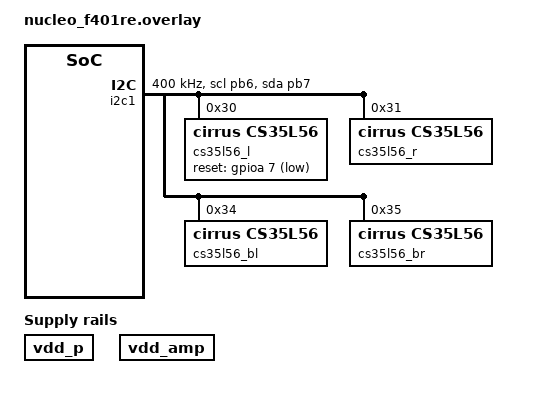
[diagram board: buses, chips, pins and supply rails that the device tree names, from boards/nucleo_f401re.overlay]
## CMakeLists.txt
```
# SPDX-License-Identifier: Apache-2.0

cmake_minimum_required(VERSION 3.20.0)
find_package(Zephyr REQUIRED HINTS $ENV{ZEPHYR_BASE})
project(cs35l56)

FILE(GLOB app_sources src/*.c)
target_sources(app PRIVATE ${app_sources})
```

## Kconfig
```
# Copyright (c) 2025 Cirrus Logic, Inc.
# SPDX-License-Identifier: Apache-2.0

source "Kconfig.zephyr"

config TOGGLE_MUTE_SW0
	bool "Toggle mute when pressing sw0"
	depends on $(dt_alias_enabled,sw0)
	select GPIO
	default y
```

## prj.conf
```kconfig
CONFIG_LOG=y
CONFIG_AUDIO=y
CONFIG_AUDIO_CODEC=y
CONFIG_AUDIO_CODEC_CS35L56=y
CONFIG_AUDIO_CODEC_CS35L56_SOUNDWIRE_ASP_ARBITRATION=y
CONFIG_AUDIO_CODEC_CS35L56_DELEGATE_FW_LOADING=y

CONFIG_SHELL=y
CONFIG_I2C_SHELL=y
CONFIG_AUDIO_CODEC_SHELL=y
```

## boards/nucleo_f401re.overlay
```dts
/*
 * Copyright (c) 2025 Cirrus Logic, Inc.
 *
 * SPDX-License-Identifier: Apache-2.0
 */

 #include <zephyr/dt-bindings/gpio/gpio.h>
 #include <zephyr/dt-bindings/i2c/i2c.h>

/ {
    vdd_p: vdd-p {
		compatible = "regulator-fixed";
		regulator-name = "vdd-p";
        regulator-always-on;
	};

    vdd_amp: vdd-amp {
		compatible = "regulator-fixed";
		regulator-name = "vdd-amp";
        regulator-always-on;
	};
};

&usart1 {
    status = "disabled";
};

&i2c1 {
    pinctrl-0 = <&i2c1_scl_pb6 &i2c1_sda_pb7>;
    status = "okay";
    clock-frequency = <I2C_BITRATE_FAST>;

    cs35l56_l: cs35l56@30 {
        compatible = "cirrus,cs35l56";
        reg = <0x30>;
        status = "okay";

        reset-gpios = <&gpioa 7 GPIO_ACTIVE_LOW>;
    };

    cs35l56_r: cs35l56@31 {
        compatible = "cirrus,cs35l56";
        reg = <0x31>;
        status = "okay";
    };

    cs35l56_bl: cs35l56@34 {
        compatible = "cirrus,cs35l56";
        reg = <0x34>;
        status = "okay";
    };

    cs35l56_br: cs35l56@35 {
        compatible = "cirrus,cs35l56";
        reg = <0x35>;
        status = "okay";
    };
};
```

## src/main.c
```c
/*
 * Copyright (c) 2025 Cirrus Logic, Inc.
 *
 * SPDX-License-Identifier: Apache-2.0
 */

#include <zephyr/sys/printk.h>
#include <zephyr/kernel.h>
#include <zephyr/device.h>
#include <zephyr/devicetree.h>
#include <zephyr/audio/codec.h>
#include <zephyr/drivers/gpio.h>

#define AUDIO_AMP_LEFT			0
#define AUDIO_AMP_RIGHT			1
#define AUDIO_AMP_BACK_LEFT		2
#define AUDIO_AMP_BACK_RIGHT	3

#define ASP1_RX1	1
#define ASP1_RX2	2

const struct device *amps[] = {
	[AUDIO_AMP_LEFT] = DEVICE_DT_GET(DT_NODELABEL(cs35l56_l)),
	[AUDIO_AMP_RIGHT] = DEVICE_DT_GET(DT_NODELABEL(cs35l56_r)),
	[AUDIO_AMP_BACK_LEFT] = DEVICE_DT_GET_OR_NULL(DT_NODELABEL(cs35l56_bl)),
	[AUDIO_AMP_BACK_RIGHT] = DEVICE_DT_GET_OR_NULL(DT_NODELABEL(cs35l56_br)),
};

static volatile bool toggle_playback = false;

#define SW0_NODE	DT_ALIAS(sw0)
#if !DT_NODE_HAS_STATUS_OKAY(SW0_NODE)
#error "Unsupported board: sw0 devicetree alias is not defined"
#endif
static const struct gpio_dt_spec button = GPIO_DT_SPEC_GET_OR(SW0_NODE, gpios,
							      {0});
static struct gpio_callback button_cb_data;

/*
 * The led0 devicetree alias is optional. If present, we'll use it
 * to turn on the LED whenever the button is pressed.
 */
static struct gpio_dt_spec led = GPIO_DT_SPEC_GET_OR(DT_ALIAS(led0), gpios,
						     {0});

void button_pressed(const struct device *dev, struct gpio_callback *cb,
		    uint32_t pins)
{
	toggle_playback = true;
}

#define CODEC_DAI_CFG_I2S_STEREO	2

#define CODEC_DAI_CFG_I2S_FORMAT	(I2S_FMT_DATA_FORMAT_I2S | \
									 I2S_FMT_CLK_NF_NB)

#define CODEC_DAI_CFG_I2S_OPTION	(I2S_OPT_BIT_CLK_GATED | \
									 I2S_OPT_BIT_CLK_SLAVE | \
									 I2S_OPT_FRAME_CLK_SLAVE)

struct audio_codec_cfg cfg = {
	.dai_cfg.i2s.word_size = AUDIO_PCM_WIDTH_24_BITS,
	.dai_cfg.i2s.channels = CODEC_DAI_CFG_I2S_STEREO,
	.dai_cfg.i2s.frame_clk_freq = AUDIO_PCM_RATE_48K,
	.dai_cfg.i2s.format = CODEC_DAI_CFG_I2S_FORMAT,
	.dai_cfg.i2s.options = CODEC_DAI_CFG_I2S_OPTION,

	.dai_route = AUDIO_ROUTE_PLAYBACK,
	.dai_type = AUDIO_DAI_TYPE_I2S,
};

static int init_codecs(void)
{
	audio_property_value_t val;
	int ret;

	if (amps[AUDIO_AMP_LEFT] == NULL || amps[AUDIO_AMP_RIGHT] == NULL ) {
		printk("No CS35L56 stereo pair found...\n");
		return -ENODEV;
	}

	val.mute = false;

	for (int i = 0; i < ARRAY_SIZE(amps); i++) {
		if (amps[i] == NULL) {
			continue;
		}

		if (!device_is_ready(amps[i])) {
			printk("\n Error: %s is not ready;\n", amps[i]->name);
			return -EIO;
		}

		ret = audio_codec_configure(amps[i], &cfg);
		if (ret < 0) {
			printk("\nError: Failed to configure %s codec.\n", amps[i]->name);
			return ret;
		}

		if ((i % 2) == 0) {
			ret = audio_codec_route_output(amps[i], AUDIO_CHANNEL_FRONT_LEFT, ASP1_RX1);
			if (ret < 0) {
				printk("\nError: Failed to route left output path.\n");
				return ret;
			}

			ret = audio_codec_set_property(amps[i], AUDIO_PROPERTY_OUTPUT_MUTE, AUDIO_CHANNEL_FRONT_LEFT, val);
			if (ret < 0) {
				printk("\nError: Failed to unmute left amp, %d\n", ret);
				return ret;
			}
		} else {
			ret = audio_codec_route_output(amps[i], AUDIO_CHANNEL_FRONT_RIGHT, ASP1_RX2);
			if (ret < 0) {
				printk("\nError: Failed to route right output path.\n");
				return ret;
			}

			ret = audio_codec_set_property(amps[i], AUDIO_PROPERTY_OUTPUT_MUTE, AUDIO_CHANNEL_FRONT_RIGHT, val);
			if (ret < 0) {
				printk("\nError: Failed to unmute right amp\n");
				return ret;
			}
		}
	}

	return 0;
}

static void set_codec_output_state(const bool playback)
{
	printk("%s audio playback\n", playback ? "Starting" : "Pausing");
	if (playback) {
		for (int i = 0; i < ARRAY_SIZE(amps); i++) {
			if (amps[i] == NULL) {
				continue;
			}
			audio_codec_start_output(amps[i]);
		}
	} else {
		for (int i = 0; i < ARRAY_SIZE(amps); i++) {
			if (amps[i] == NULL) {
				continue;
			}
			audio_codec_stop_output(amps[i]);
		}
	}
	gpio_pin_set_dt(&led, playback);
}

static void init_led(void)
{
	int ret = 0;

	if (led.port && !gpio_is_ready_dt(&led)) {
		printk("Error %d: LED device %s is not ready; ignoring it\n",
		       ret, led.port->name);
		led.port = NULL;
	}
	if (led.port) {
		ret = gpio_pin_configure_dt(&led, GPIO_OUTPUT);
		if (ret != 0) {
			printk("Error %d: failed to configure LED device %s pin %d\n",
			       ret, led.port->name, led.pin);
			led.port = NULL;
		} else {
			printk("Set up LED at %s pin %d\n", led.port->name, led.pin);
		}
	}
}

static int init_button(void)
{
	int ret;

	if (!gpio_is_ready_dt(&button)) {
		printk("Error: button device %s is not ready\n",
		       button.port->name);
		return -ENODEV;
	}

	ret = gpio_pin_configure_dt(&button, GPIO_INPUT);
	if (ret != 0) {
		printk("Error %d: failed to configure %s pin %d\n",
		       ret, button.port->name, button.pin);
		return ret;
	}

	ret = gpio_pin_interrupt_configure_dt(&button,
					      GPIO_INT_EDGE_TO_ACTIVE);
	if (ret != 0) {
		printk("Error %d: failed to configure interrupt on %s pin %d\n",
			ret, button.port->name, button.pin);
		return ret;
	}

	return 0;
}

int main(void)
{
	bool playback = false;
	int ret;

	ret = init_button();
	if (ret != 0) {
		printk("Failed to initialize button\n");
	}

	init_led();

	ret = init_codecs();
	if (ret != 0) {
		printk("Failed to initialize codecs\n");
		return ret;
	}

	set_codec_output_state(playback);

	gpio_init_callback(&button_cb_data, button_pressed, BIT(button.pin));
	gpio_add_callback(button.port, &button_cb_data);
	printk("Set up button at %s pin %d\n", button.port->name, button.pin);

	while (1) {
		if (toggle_playback) {
			playback = !playback;
			set_codec_output_state(playback);
			toggle_playback = false;
		}

		printk("Audio playback %s\n", playback ? "in progress" : "is paused");

		k_sleep(K_SECONDS(1));
	}

	return 0;
}
```
